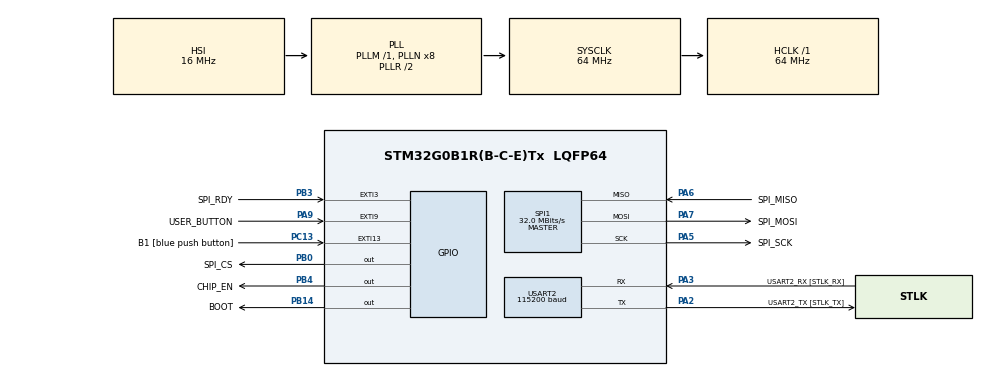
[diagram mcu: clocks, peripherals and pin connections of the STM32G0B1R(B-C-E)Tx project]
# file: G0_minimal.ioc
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Mcu.Family=STM32G0
Mcu.Name=STM32G0B1R(B-C-E)Tx
Mcu.Package=LQFP64
NVIC.EXTI2_3_IRQn=true\:3\:0\:false\:false\:true\:true\:true\:true
NVIC.EXTI4_15_IRQn=true\:3\:0\:false\:false\:true\:true\:true\:true
PA13.GPIO_Label=TMS
PA13.Mode=Serial_Wire
PA13.Signal=SYS_SWDIO
PA14-BOOT0.GPIO_Label=TCK
PA14-BOOT0.Mode=Serial_Wire
PA14-BOOT0.Signal=SYS_SWCLK
PA2.GPIO_Label=USART2_TX [STLK_TX]
PA2.Mode=Asynchronous
PA2.Signal=USART2_TX
PA3.GPIO_Label=USART2_RX [STLK_RX]
PA3.Mode=Asynchronous
PA3.Signal=USART2_RX
PA5.GPIO_Label=SPI_SCK
PA5.GPIO_Speed=GPIO_SPEED_FREQ_VERY_HIGH
PA5.Mode=Full_Duplex_Master
PA5.Signal=SPI1_SCK
PA6.GPIO_Label=SPI_MISO
PA6.GPIO_Speed=GPIO_SPEED_FREQ_VERY_HIGH
PA6.Mode=Full_Duplex_Master
PA6.Signal=SPI1_MISO
PA7.GPIO_Label=SPI_MOSI
PA7.GPIO_Speed=GPIO_SPEED_FREQ_VERY_HIGH
PA7.Mode=Full_Duplex_Master
PA7.Signal=SPI1_MOSI
PA9.GPIO_Label=USER_BUTTON
PA9.GPIO_ModeDefaultEXTI=GPIO_MODE_IT_FALLING
PA9.GPIO_PuPd=GPIO_PULLUP
PA9.Signal=GPXTI9
PB0.GPIO_Label=SPI_CS
PB0.GPIO_Speed=GPIO_SPEED_FREQ_HIGH
PB0.Signal=GPIO_Output
PB14.GPIO_Label=BOOT
PB14.Signal=GPIO_Output
PB3.GPIO_Label=SPI_RDY
PB3.GPIO_ModeDefaultEXTI=GPIO_MODE_IT_RISING_FALLING
PB3.Signal=GPXTI3
PB4.GPIO_Label=CHIP_EN
PB4.GPIO_Speed=GPIO_SPEED_FREQ_HIGH
PB4.Signal=GPIO_Output
PC13.GPIO_Label=B1 [blue push button]
PC13.Signal=GPXTI13
PC14-OSC32_IN\ (PC14).Mode=LSE-External-Oscillator
PC14-OSC32_IN\ (PC14).Signal=RCC_OSC32_IN
PC15-OSC32_OUT\ (PC15).Mode=LSE-External-Oscillator
PC15-OSC32_OUT\ (PC15).Signal=RCC_OSC32_OUT
PF0-OSC_IN\ (PF0).GPIO_Label=MCO
PF0-OSC_IN\ (PF0).Mode=HSE-External-Clock-Source
PF0-OSC_IN\ (PF0).Signal=RCC_OSC_IN
ProjectManager.HeapSize=0x200
ProjectManager.StackSize=0x400
ProjectManager.TargetToolchain=EWARM V8.50
RCC.ADCFreq_Value=64000000
RCC.AHBFreq_Value=64000000
RCC.CortexFreq_Value=64000000
RCC.EXTERNAL_CLOCK_VALUE=48000
RCC.FLatency=FLASH_LATENCY_2
RCC.HCLKFreq_Value=64000000
RCC.HSE_VALUE=8000000
RCC.HSI48_VALUE=48000000
RCC.HSI_VALUE=16000000
RCC.SYSCLKFreq_VALUE=64000000
RCC.SYSCLKSource=RCC_SYSCLKSOURCE_PLLCLK
RCC.USBFreq_Value=48000000
RCC.VCOOutputFreq_Value=128000000
SPI1.BaudRatePrescaler=SPI_BAUDRATEPRESCALER_2
SPI1.CLKPhase=SPI_PHASE_1EDGE
SPI1.CLKPolarity=SPI_POLARITY_LOW
SPI1.CRCCalculation=SPI_CRCCALCULATION_DISABLE
SPI1.CalculateBaudRate=32.0 MBits/s
SPI1.DataSize=SPI_DATASIZE_8BIT
SPI1.Direction=SPI_DIRECTION_2LINES
SPI1.FirstBit=SPI_FIRSTBIT_MSB
SPI1.Mode=SPI_MODE_MASTER
SPI1.NSS=SPI_NSS_SOFT
SPI1.NSSPMode=SPI_NSS_PULSE_ENABLE
SPI1.TIMode=SPI_TIMODE_DISABLE
SPI1.VirtualType=VM_MASTER
USART2.AutoBaudRateEnableParam=UART_ADVFEATURE_AUTOBAUDRATE_DISABLE
USART2.BaudRate=115200
USART2.ClockPrescaler=PRESCALER_DIV1
USART2.DMADisableonRxErrorParam=ADVFEATURE_DMA_ENABLEONRXERROR
USART2.DataInvertParam=ADVFEATURE_DATAINV_DISABLE
USART2.FIFOMode=FIFOMODE_DISABLE
USART2.MSBFirstParam=ADVFEATURE_MSBFIRST_DISABLE
USART2.Mode=MODE_TX_RX
USART2.OneBitSampling=UART_ONE_BIT_SAMPLE_DISABLE
USART2.OverSampling=UART_OVERSAMPLING_16
USART2.OverrunDisableParam=ADVFEATURE_OVERRUN_ENABLE
USART2.Parity=PARITY_NONE
USART2.RXFIFOThreshold=RXFIFO_THRESHOLD_1EIGHTHFULL
USART2.RxPinLevelInvertParam=ADVFEATURE_RXINV_DISABLE
USART2.StopBits=STOPBITS_1
USART2.SwapParam=ADVFEATURE_SWAP_DISABLE
USART2.TXFIFOThreshold=TXFIFO_THRESHOLD_1EIGHTHFULL
USART2.TxPinLevelInvertParam=ADVFEATURE_TXINV_DISABLE
USART2.VirtualMode-Asynchronous=VM_ASYNC
USART2.WordLength=WORDLENGTH_8B
VP_SYS_VS_DBSignals.Mode=DisableDeadBatterySignals
board=NUCLEO-G0B1RE

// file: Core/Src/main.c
/* USER CODE BEGIN Header */
/**
  ******************************************************************************
  * @file           : main.c
  * @brief          : Main program body
  ******************************************************************************
  * @attention
  *
  * Copyright (c) 2025 STMicroelectronics.
  * All rights reserved.
  *
  * This software is licensed under terms that can be found in the LICENSE file
  * in the root directory of this software component.
  * If no LICENSE file comes with this software, it is provided AS-IS.
  *
  ******************************************************************************
  */
/* USER CODE END Header */
#include "main.h"

/* USER CODE BEGIN Includes */
#include "spi_iface.h"
#include "stdio.h"
#include "stdlib.h"
#include "string.h"

#if defined(__ICCARM__)
#include <LowLevelIOInterface.h>
#endif /* __ICCARM__ */
/* USER CODE END Includes */

SPI_HandleTypeDef hspi1;

UART_HandleTypeDef huart2;

/* USER CODE BEGIN PV */
volatile uint8_t wait_for_scan_report = 0;
volatile uint8_t wait_for_ip_report = 0;
volatile uint8_t ping_count = 0;
volatile uint32_t ping_time = 0;

/* USER CODE END PV */

void SystemClock_Config(void);
static void MX_GPIO_Init(void);

/* USER CODE BEGIN 0 */
#if defined(__ICCARM__)
size_t __write(int file, unsigned char const *ptr, size_t len)
{
  size_t idx;
  unsigned char const *pdata = ptr;
  /* USER CODE BEGIN __write_1 */

  /* USER CODE END __write_1 */

  HAL_UART_Transmit(&huart2, pdata, len, 10000);
  return len;
  /* USER CODE BEGIN __write_End */

  /* USER CODE END __write_End */
}
#else

#if defined ( __GNUC__) && !defined(__clang__)
/* With GCC, small printf (option LD Linker->Libraries->Small printf
   set to 'Yes') calls __io_putchar() */
#define PUTCHAR_PROTOTYPE int __io_putchar(int ch)
#else
#define PUTCHAR_PROTOTYPE int fputc(int ch, FILE *f)
#endif

PUTCHAR_PROTOTYPE
{
  /* USER CODE BEGIN PUTCHAR_PROTOTYPE_1 */

  /* USER CODE END PUTCHAR_PROTOTYPE_1 */
  HAL_UART_Transmit(&huart2, (unsigned char *)&ch, 1, 1000);
  return ch;
  /* USER CODE BEGIN PUTCHAR_PROTOTYPE_End */

  /* USER CODE END PUTCHAR_PROTOTYPE_End */
}
#endif /* __ICCARM__ */

static void report_callback(void)
{
	char *report = NULL;
	int32_t ret;

	ret = spi_iface_receive_report(&report);
	printf("Report: %s", report);

	if (wait_for_scan_report == 1 && ret == 16)
	{
		if (strncmp(report, "+CW:SCAN_DONE\r\n", 16) == 0) wait_for_scan_report = 0;
	}
	else if (wait_for_ip_report == 1 && ret == 12)
	{
		if (strncmp(report, "+CW:GOTIP\r\n", 12) == 0) wait_for_ip_report = 0;
	}
	else if (ping_count > 0 && strncmp(report, "+PING:", 6) == 0)
	{
		ping_count--;
		uint32_t num = 0;
		sscanf(report, "+PING:%lu", &num);
		ping_time += num;
	}
	free(report);
}

/* USER CODE END 0 */

int main(void)
{

  /* MCU Configuration--------------------------------------------------------*/

  /* Reset of all peripherals, Initializes the Flash interface and the Systick. */
  HAL_Init();

  /* Configure the system clock */
  SystemClock_Config();

  /* Initialize all configured peripherals */
  MX_GPIO_Init();
  MX_SPI1_Init();
  MX_USART2_UART_Init();
  /* USER CODE BEGIN 2 */
  int32_t ret = 0;
  char *resp = NULL;

  ret = spi_iface_init(&report_callback);

  spi_iface_send("AT+CWMODE=1,0", &resp);
  free(resp);

  spi_iface_send("AT+SLCLDTIM", &resp);
  free(resp);
  spi_iface_send("AT+CWLAPOPT=1,3", &resp);
  free(resp);

  wait_for_scan_report = 1;
  spi_iface_send("AT+CWLAP=0", &resp);
  free(resp);
  while(wait_for_scan_report) {}

  wait_for_ip_report = 1;
  spi_iface_send("AT+CWJAP=\"my_ssid\",\"my_password\"", &resp);
  free(resp);
  while(wait_for_ip_report) {}

  spi_iface_send("AT+CIPSTA?", &resp);
  free(resp);
  spi_iface_send("AT+PING=\"www.google.com\",64,8,500", &resp);
  free(resp);

  ping_count = 8;
  while(ping_count > 0) {}
  printf("\r\nAverage ping time: %lu ms\r\n", ping_time / 8);

  spi_iface_send("AT+CWQAP=0", &resp);
  printf("%s", resp);
  free(resp);
  printf("\r\nDisconnected\r\n");

  /* USER CODE END 2 */

  /* Infinite loop */
  while (1)
  {

  }
}

void SystemClock_Config(void)
{
  RCC_OscInitTypeDef RCC_OscInitStruct = {0};
  RCC_ClkInitTypeDef RCC_ClkInitStruct = {0};

  /** Configure the main internal regulator output voltage
  */
  HAL_PWREx_ControlVoltageScaling(PWR_REGULATOR_VOLTAGE_SCALE1);

  /** Initializes the RCC Oscillators according to the specified parameters
  * in the RCC_OscInitTypeDef structure.
  */
  RCC_OscInitStruct.OscillatorType = RCC_OSCILLATORTYPE_HSI;
  RCC_OscInitStruct.HSIState = RCC_HSI_ON;
  RCC_OscInitStruct.HSIDiv = RCC_HSI_DIV1;
  RCC_OscInitStruct.HSICalibrationValue = RCC_HSICALIBRATION_DEFAULT;
  RCC_OscInitStruct.PLL.PLLState = RCC_PLL_ON;
  RCC_OscInitStruct.PLL.PLLSource = RCC_PLLSOURCE_HSI;
  RCC_OscInitStruct.PLL.PLLM = RCC_PLLM_DIV1;
  RCC_OscInitStruct.PLL.PLLN = 8;
  RCC_OscInitStruct.PLL.PLLP = RCC_PLLP_DIV2;
  RCC_OscInitStruct.PLL.PLLQ = RCC_PLLQ_DIV2;
  RCC_OscInitStruct.PLL.PLLR = RCC_PLLR_DIV2;
  if (HAL_RCC_OscConfig(&RCC_OscInitStruct) != HAL_OK)
  {
    Error_Handler();
  }

  /** Initializes the CPU, AHB and APB buses clocks
  */
  RCC_ClkInitStruct.ClockType = RCC_CLOCKTYPE_HCLK|RCC_CLOCKTYPE_SYSCLK
                              |RCC_CLOCKTYPE_PCLK1;
  RCC_ClkInitStruct.SYSCLKSource = RCC_SYSCLKSOURCE_PLLCLK;
  RCC_ClkInitStruct.AHBCLKDivider = RCC_SYSCLK_DIV1;
  RCC_ClkInitStruct.APB1CLKDivider = RCC_HCLK_DIV1;

  if (HAL_RCC_ClockConfig(&RCC_ClkInitStruct, FLASH_LATENCY_2) != HAL_OK)
  {
    Error_Handler();
  }
}

void MX_SPI1_Init(void)
{

  /* SPI1 parameter configuration*/
  hspi1.Instance = SPI1;
  hspi1.Init.Mode = SPI_MODE_MASTER;
  hspi1.Init.Direction = SPI_DIRECTION_2LINES;
  hspi1.Init.DataSize = SPI_DATASIZE_8BIT;
  hspi1.Init.CLKPolarity = SPI_POLARITY_LOW;
  hspi1.Init.CLKPhase = SPI_PHASE_1EDGE;
  hspi1.Init.NSS = SPI_NSS_SOFT;
  hspi1.Init.BaudRatePrescaler = SPI_BAUDRATEPRESCALER_2;
  hspi1.Init.FirstBit = SPI_FIRSTBIT_MSB;
  hspi1.Init.TIMode = SPI_TIMODE_DISABLE;
  hspi1.Init.CRCCalculation = SPI_CRCCALCULATION_DISABLE;
  hspi1.Init.CRCPolynomial = 7;
  hspi1.Init.CRCLength = SPI_CRC_LENGTH_DATASIZE;
  hspi1.Init.NSSPMode = SPI_NSS_PULSE_ENABLE;
  if (HAL_SPI_Init(&hspi1) != HAL_OK)
  {
    Error_Handler();
  }

}

void MX_USART2_UART_Init(void)
{

  huart2.Instance = USART2;
  huart2.Init.BaudRate = 115200;
  huart2.Init.WordLength = UART_WORDLENGTH_8B;
  huart2.Init.StopBits = UART_STOPBITS_1;
  huart2.Init.Parity = UART_PARITY_NONE;
  huart2.Init.Mode = UART_MODE_TX_RX;
  huart2.Init.HwFlowCtl = UART_HWCONTROL_NONE;
  huart2.Init.OverSampling = UART_OVERSAMPLING_16;
  huart2.Init.OneBitSampling = UART_ONE_BIT_SAMPLE_DISABLE;
  huart2.Init.ClockPrescaler = UART_PRESCALER_DIV1;
  huart2.AdvancedInit.AdvFeatureInit = UART_ADVFEATURE_NO_INIT;
  if (HAL_UART_Init(&huart2) != HAL_OK)
  {
    Error_Handler();
  }
  if (HAL_UARTEx_SetTxFifoThreshold(&huart2, UART_TXFIFO_THRESHOLD_1_8) != HAL_OK)
  {
    Error_Handler();
  }
  if (HAL_UARTEx_SetRxFifoThreshold(&huart2, UART_RXFIFO_THRESHOLD_1_8) != HAL_OK)
  {
    Error_Handler();
  }
  if (HAL_UARTEx_DisableFifoMode(&huart2) != HAL_OK)
  {
    Error_Handler();
  }

}

static void MX_GPIO_Init(void)
{
  GPIO_InitTypeDef GPIO_InitStruct = {0};

  /* GPIO Ports Clock Enable */
  __HAL_RCC_GPIOC_CLK_ENABLE();
  __HAL_RCC_GPIOF_CLK_ENABLE();
  __HAL_RCC_GPIOA_CLK_ENABLE();
  __HAL_RCC_GPIOB_CLK_ENABLE();

  /*Configure GPIO pin Output Level */
  HAL_GPIO_WritePin(GPIOB, SPI_CS_Pin|BOOT_Pin|CHIP_EN_Pin, GPIO_PIN_RESET);

  /*Configure GPIO pin : B1_Pin */
  GPIO_InitStruct.Pin = B1_Pin;
  GPIO_InitStruct.Mode = GPIO_MODE_IT_RISING;
  GPIO_InitStruct.Pull = GPIO_NOPULL;
  HAL_GPIO_Init(B1_GPIO_Port, &GPIO_InitStruct);

  /*Configure GPIO pins : SPI_CS_Pin CHIP_EN_Pin */
  GPIO_InitStruct.Pin = SPI_CS_Pin|CHIP_EN_Pin;
  GPIO_InitStruct.Mode = GPIO_MODE_OUTPUT_PP;
  GPIO_InitStruct.Pull = GPIO_NOPULL;
  GPIO_InitStruct.Speed = GPIO_SPEED_FREQ_HIGH;
  HAL_GPIO_Init(GPIOB, &GPIO_InitStruct);

  /*Configure GPIO pin : BOOT_Pin */
  GPIO_InitStruct.Pin = BOOT_Pin;
  GPIO_InitStruct.Mode = GPIO_MODE_OUTPUT_PP;
  GPIO_InitStruct.Pull = GPIO_NOPULL;
  GPIO_InitStruct.Speed = GPIO_SPEED_FREQ_LOW;
  HAL_GPIO_Init(BOOT_GPIO_Port, &GPIO_InitStruct);

  /*Configure GPIO pin : USER_BUTTON_Pin */
  GPIO_InitStruct.Pin = USER_BUTTON_Pin;
  GPIO_InitStruct.Mode = GPIO_MODE_IT_FALLING;
  GPIO_InitStruct.Pull = GPIO_PULLUP;
  HAL_GPIO_Init(USER_BUTTON_GPIO_Port, &GPIO_InitStruct);

  /*Configure GPIO pin : SPI_RDY_Pin */
  GPIO_InitStruct.Pin = SPI_RDY_Pin;
  GPIO_InitStruct.Mode = GPIO_MODE_IT_RISING_FALLING;
  GPIO_InitStruct.Pull = GPIO_NOPULL;
  HAL_GPIO_Init(SPI_RDY_GPIO_Port, &GPIO_InitStruct);

  /* EXTI interrupt init*/
  HAL_NVIC_SetPriority(EXTI2_3_IRQn, 3, 0);
  HAL_NVIC_EnableIRQ(EXTI2_3_IRQn);

  HAL_NVIC_SetPriority(EXTI4_15_IRQn, 3, 0);
  HAL_NVIC_EnableIRQ(EXTI4_15_IRQn);

}

/* USER CODE BEGIN 4 */

void HAL_GPIO_EXTI_Rising_Callback(uint16_t pin)
{
  /* USER CODE BEGIN EXTI_Rising_Callback_1 */

  /* USER CODE END EXTI_Rising_Callback_1 */
  /* Callback when data is available in Network CoProcessor to enable SPI Clock */
  if (pin == SPI_RDY_Pin)
  {
	  spi_iface_ncp_ready_high();
  }
  /* USER CODE BEGIN EXTI_Rising_Callback_End */

  /* USER CODE END EXTI_Rising_Callback_End */
}

void HAL_GPIO_EXTI_Falling_Callback(uint16_t pin)
{
  /* USER CODE BEGIN EXTI_Falling_Callback_1 */

  /* USER CODE END EXTI_Falling_Callback_1 */
  /* Callback when data is available in Network CoProcessor to enable SPI Clock */
  if (pin == SPI_RDY_Pin)
  {
	  spi_iface_ncp_ready_low();
  }

  /* Callback when user button is pressed */
  if (pin == USER_BUTTON_Pin)
  {

  }
  /* USER CODE BEGIN EXTI_Falling_Callback_End */

  /* USER CODE END EXTI_Falling_Callback_End */
}

/* USER CODE END 4 */

void Error_Handler(void)
{
  __disable_irq();
  while (1)
  {
  }
}
